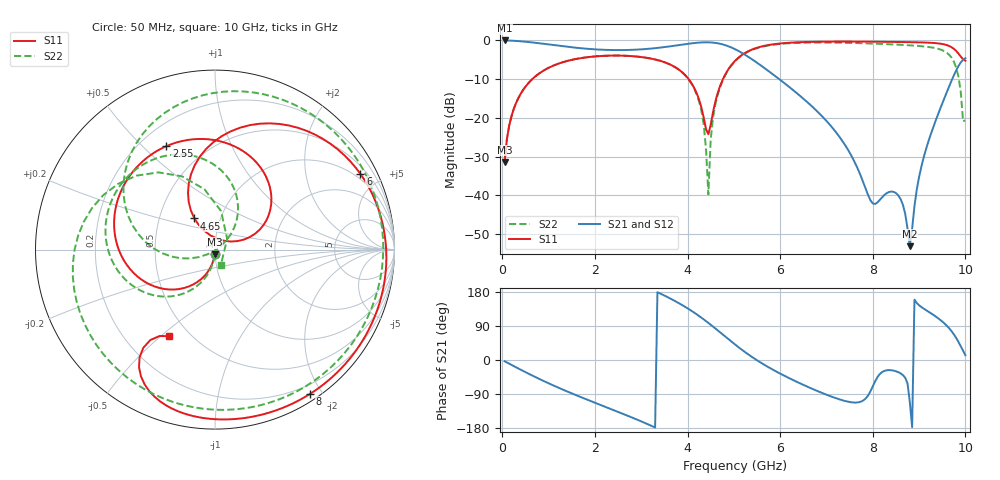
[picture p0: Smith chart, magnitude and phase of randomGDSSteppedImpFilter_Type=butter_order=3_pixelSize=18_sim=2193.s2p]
! freq	dB(S11)	phase(S11)	dB(S12)	phase(S12)
!  dB(S21)	phase(S21)	dB(S22)	phase(S22)
!S-par simulation data
#  GHz  S  DB  R 50
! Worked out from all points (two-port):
!   200 points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, 50 MHz to 10 GHz, reference 50 ohm
!   highest |S21| = -0.01 dB at 50 MHz (marker M1); lowest = -53.1 dB at 8.8 GHz (marker M2)
!   |S21| within 3 dB of the highest: start of sweep to 5.144 GHz
!   lowest |S11| = -31.4 dB at 50 MHz (marker M3), VSWR 1.06, Z = 49.8 - j2.68 ohm
!   |S11| at or under -10 dB: start of sweep to 646.4 MHz; 4.025 GHz to 4.765 GHz (740.1 MHz wide, 16.8 % of centre)
!   |S22| runs from -39.8 to -0.5 dB; largest |S21 - S12| = 0
!   S11 on the Smith chart (normalised r, x): 50 MHz: 1.00, -0.05; 2.55 GHz: 0.31, +0.59; 4.65 GHz: 0.75, +0.27; 6 GHz: 0.78, +3.95; 8 GHz: 0.08, -1.85; 10 GHz: 0.39, -0.53
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0.05  -31.38 -93.7  -0.01 -3.3  -0.01 -3.3  -31.36 -93.1
0.2  -19.48 -104.6  -0.07 -13.1  -0.07 -13.1  -19.47 -102.3
0.5  -11.94 -125.5  -0.33 -32.0  -0.33 -32.0  -11.94 -119.6
1.75  -4.47 158.5  -2.07 -100.6  -2.07 -100.6  -4.46 179.2
2.55  -3.92 115.2  -2.50 -139.4  -2.50 -139.4  -3.91 145.3
3.4  -5.22 67.3  -1.87 176.1  -1.87 176.1  -5.24 105.7
4.2  -13.69 19.8  -0.61 120.4  -0.61 120.4  -14.01 53.1
4.35  -19.95 26.6  -0.49 107.2  -0.49 107.2  -21.75 39.1
4.45  -24.19 77.4  -0.49 97.9  -0.49 97.9  -39.76 -110.6
4.5  -21.77 106.8  -0.52 93.1  -0.52 93.1  -25.57 -148.8
4.65  -13.63 123.5  -0.73 78.3  -0.73 78.3  -14.10 -165.9
5.05  -4.99 95.0  -2.40 38.5  -2.40 38.5  -5.09 154.0
6  -0.79 27.5  -10.17 -35.9  -10.17 -35.9  -0.90 76.2
6.7  -0.36 -7.2  -17.16 -76.4  -17.16 -76.4  -0.55 27.9
7.35  -0.30 -33.5  -26.05 -106.5  -26.05 -106.5  -0.60 -17.1
8  -0.33 -56.6  -42.06 -69.6  -42.06 -69.6  -0.82 -63.8
8.35  -0.37 -68.3  -39.12 -26.6  -39.12 -26.6  -0.99 -89.8
8.65  -0.41 -78.2  -42.38 -39.6  -42.38 -39.6  -1.16 -112.8
8.8  -0.44 -83.2  -53.09 -111.2  -53.09 -111.2  -1.27 -124.7
9.05  -0.51 -91.8  -32.52 139.8  -32.52 139.8  -1.49 -145.7
9.7  -1.75 -120.3  -10.41 76.2  -10.41 76.2  -4.43 136.7
10  -5.24 -118.1  -4.60 12.6  -4.60 12.6  -20.64 -69.7
